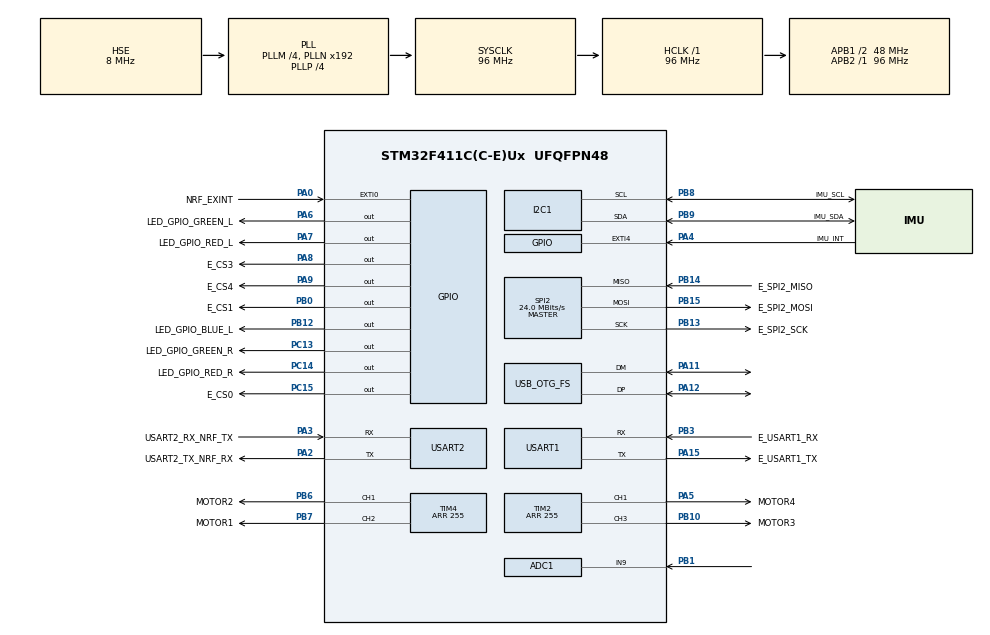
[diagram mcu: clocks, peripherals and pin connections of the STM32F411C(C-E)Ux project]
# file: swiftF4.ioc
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ADC1.Channel-2\#ChannelRegularConversion=ADC_CHANNEL_9
ADC1.NbrOfConversionFlag=1
ADC1.Rank-2\#ChannelRegularConversion=1
ADC1.SamplingTime-2\#ChannelRegularConversion=ADC_SAMPLETIME_3CYCLES
ADC1.master=1
Dma.ADC1.3.Direction=DMA_PERIPH_TO_MEMORY
Dma.ADC1.3.FIFOMode=DMA_FIFOMODE_DISABLE
Dma.ADC1.3.Instance=DMA2_Stream0
Dma.ADC1.3.MemDataAlignment=DMA_MDATAALIGN_HALFWORD
Dma.ADC1.3.MemInc=DMA_MINC_ENABLE
Dma.ADC1.3.Mode=DMA_NORMAL
Dma.ADC1.3.PeriphDataAlignment=DMA_PDATAALIGN_HALFWORD
Dma.ADC1.3.PeriphInc=DMA_PINC_DISABLE
Dma.ADC1.3.Priority=DMA_PRIORITY_VERY_HIGH
Dma.I2C1_RX.2.Direction=DMA_PERIPH_TO_MEMORY
Dma.I2C1_RX.2.FIFOMode=DMA_FIFOMODE_DISABLE
Dma.I2C1_RX.2.Instance=DMA1_Stream0
Dma.I2C1_RX.2.MemDataAlignment=DMA_MDATAALIGN_BYTE
Dma.I2C1_RX.2.MemInc=DMA_MINC_ENABLE
Dma.I2C1_RX.2.Mode=DMA_NORMAL
Dma.I2C1_RX.2.PeriphDataAlignment=DMA_PDATAALIGN_BYTE
Dma.I2C1_RX.2.PeriphInc=DMA_PINC_DISABLE
Dma.I2C1_RX.2.Priority=DMA_PRIORITY_HIGH
Dma.I2C1_TX.4.Direction=DMA_MEMORY_TO_PERIPH
Dma.I2C1_TX.4.FIFOMode=DMA_FIFOMODE_DISABLE
Dma.I2C1_TX.4.Instance=DMA1_Stream1
Dma.I2C1_TX.4.MemDataAlignment=DMA_MDATAALIGN_BYTE
Dma.I2C1_TX.4.MemInc=DMA_MINC_ENABLE
Dma.I2C1_TX.4.Mode=DMA_NORMAL
Dma.I2C1_TX.4.PeriphDataAlignment=DMA_PDATAALIGN_BYTE
Dma.I2C1_TX.4.PeriphInc=DMA_PINC_DISABLE
Dma.I2C1_TX.4.Priority=DMA_PRIORITY_HIGH
Dma.Request0=USART1_RX
Dma.Request1=USART1_TX
Dma.Request2=I2C1_RX
Dma.Request3=ADC1
Dma.Request4=I2C1_TX
Dma.Request5=USART2_RX
Dma.Request6=USART2_TX
Dma.USART1_RX.0.Direction=DMA_PERIPH_TO_MEMORY
Dma.USART1_RX.0.FIFOMode=DMA_FIFOMODE_DISABLE
Dma.USART1_RX.0.Instance=DMA2_Stream2
Dma.USART1_RX.0.MemDataAlignment=DMA_MDATAALIGN_BYTE
Dma.USART1_RX.0.MemInc=DMA_MINC_ENABLE
Dma.USART1_RX.0.Mode=DMA_NORMAL
Dma.USART1_RX.0.PeriphDataAlignment=DMA_PDATAALIGN_BYTE
Dma.USART1_RX.0.PeriphInc=DMA_PINC_DISABLE
Dma.USART1_RX.0.Priority=DMA_PRIORITY_HIGH
Dma.USART1_TX.1.Direction=DMA_MEMORY_TO_PERIPH
Dma.USART1_TX.1.FIFOMode=DMA_FIFOMODE_DISABLE
Dma.USART1_TX.1.Instance=DMA2_Stream7
Dma.USART1_TX.1.MemDataAlignment=DMA_MDATAALIGN_BYTE
Dma.USART1_TX.1.MemInc=DMA_MINC_ENABLE
Dma.USART1_TX.1.Mode=DMA_NORMAL
Dma.USART1_TX.1.PeriphDataAlignment=DMA_PDATAALIGN_BYTE
Dma.USART1_TX.1.PeriphInc=DMA_PINC_DISABLE
Dma.USART1_TX.1.Priority=DMA_PRIORITY_HIGH
Dma.USART2_RX.5.Direction=DMA_PERIPH_TO_MEMORY
Dma.USART2_RX.5.FIFOMode=DMA_FIFOMODE_DISABLE
Dma.USART2_RX.5.Instance=DMA1_Stream5
Dma.USART2_RX.5.MemDataAlignment=DMA_MDATAALIGN_BYTE
Dma.USART2_RX.5.MemInc=DMA_MINC_ENABLE
Dma.USART2_RX.5.Mode=DMA_NORMAL
Dma.USART2_RX.5.PeriphDataAlignment=DMA_PDATAALIGN_BYTE
Dma.USART2_RX.5.PeriphInc=DMA_PINC_DISABLE
Dma.USART2_RX.5.Priority=DMA_PRIORITY_HIGH
Dma.USART2_TX.6.Direction=DMA_MEMORY_TO_PERIPH
Dma.USART2_TX.6.FIFOMode=DMA_FIFOMODE_DISABLE
Dma.USART2_TX.6.Instance=DMA1_Stream6
Dma.USART2_TX.6.MemDataAlignment=DMA_MDATAALIGN_BYTE
Dma.USART2_TX.6.MemInc=DMA_MINC_ENABLE
Dma.USART2_TX.6.Mode=DMA_NORMAL
Dma.USART2_TX.6.PeriphDataAlignment=DMA_PDATAALIGN_BYTE
Dma.USART2_TX.6.PeriphInc=DMA_PINC_DISABLE
Dma.USART2_TX.6.Priority=DMA_PRIORITY_HIGH
FREERTOS.INCLUDE_pcTaskGetTaskName=1
FREERTOS.INCLUDE_uxTaskGetStackHighWaterMark=1
FREERTOS.INCLUDE_uxTaskGetStackHighWaterMark2=1
FREERTOS.INCLUDE_vTaskCleanUpResources=1
FREERTOS.INCLUDE_vTaskDelayUntil=1
FREERTOS.INCLUDE_xTaskGetHandle=1
FREERTOS.INCLUDE_xTimerPendFunctionCall=1
FREERTOS.Tasks01=defaultTask,0,128,StartDefaultTask,Default,NULL,Dynamic,NULL,NULL
FREERTOS.configCHECK_FOR_STACK_OVERFLOW=1
FREERTOS.configGENERATE_RUN_TIME_STATS=1
FREERTOS.configMAX_PRIORITIES=20
FREERTOS.configTIMER_QUEUE_LENGTH=20
FREERTOS.configTIMER_TASK_PRIORITY=1
FREERTOS.configTIMER_TASK_STACK_DEPTH=512
FREERTOS.configUSE_APPLICATION_TASK_TAG=1
FREERTOS.configUSE_IDLE_HOOK=1
FREERTOS.configUSE_NEWLIB_REENTRANT=1
FREERTOS.configUSE_POSIX_ERRNO=1
FREERTOS.configUSE_STATS_FORMATTING_FUNCTIONS=1
FREERTOS.configUSE_TIMERS=1
FREERTOS.configUSE_TRACE_FACILITY=1
I2C1.DualAddressMode=I2C_DUALADDRESS_DISABLE
I2C1.I2C_Mode=I2C_Fast
Mcu.Family=STM32F4
Mcu.Name=STM32F411C(C-E)Ux
Mcu.Package=UFQFPN48
NVIC.ADC_IRQn=true\:5\:0\:false\:false\:true\:true\:true\:true\:true
NVIC.DMA1_Stream0_IRQn=true\:5\:0\:false\:false\:true\:true\:false\:true\:true
NVIC.DMA1_Stream1_IRQn=true\:5\:0\:false\:false\:true\:true\:false\:true\:true
NVIC.DMA1_Stream5_IRQn=true\:5\:0\:false\:false\:true\:true\:false\:true\:true
NVIC.DMA1_Stream6_IRQn=true\:5\:0\:false\:false\:true\:true\:false\:true\:true
NVIC.DMA2_Stream0_IRQn=true\:5\:0\:false\:false\:true\:true\:false\:true\:true
NVIC.DMA2_Stream2_IRQn=true\:5\:0\:false\:false\:true\:true\:false\:true\:true
NVIC.DMA2_Stream7_IRQn=true\:5\:0\:false\:false\:true\:true\:false\:true\:true
NVIC.EXTI0_IRQn=true\:5\:0\:false\:false\:true\:true\:true\:true\:true
NVIC.EXTI4_IRQn=true\:5\:0\:false\:false\:true\:true\:true\:true\:true
NVIC.I2C1_ER_IRQn=true\:5\:0\:false\:false\:true\:true\:true\:true\:true
NVIC.I2C1_EV_IRQn=true\:5\:0\:false\:false\:true\:true\:true\:true\:true
NVIC.OTG_FS_IRQn=true\:5\:0\:false\:false\:true\:true\:false\:true\:true
NVIC.PriorityGroup=NVIC_PRIORITYGROUP_4
NVIC.TIM1_TRG_COM_TIM11_IRQn=true\:5\:0\:false\:false\:true\:true\:true\:true\:true
NVIC.USART1_IRQn=true\:5\:0\:false\:false\:true\:true\:true\:true\:true
NVIC.USART2_IRQn=true\:5\:0\:false\:false\:true\:true\:true\:true\:true
PA0-WKUP.GPIO_Label=NRF_EXINT
PA0-WKUP.GPIO_ModeDefaultEXTI=GPIO_MODE_IT_RISING_FALLING
PA0-WKUP.GPIO_PuPd=GPIO_PULLUP
PA0-WKUP.Signal=GPXTI0
PA10.GPIO_Mode=GPIO_MODE_AF_PP
PA10.GPIO_PuPd=GPIO_PULLUP
PA10.Signal=USB_OTG_FS_ID
PA11.Mode=Device_Only
PA11.Signal=USB_OTG_FS_DM
PA12.Mode=Device_Only
PA12.Signal=USB_OTG_FS_DP
PA13.Signal=SYS_JTMS-SWDIO
PA14.Signal=SYS_JTCK-SWCLK
PA15.GPIO_Label=E_USART1_TX
PA15.Mode=Asynchronous
PA15.Signal=USART1_TX
PA2.GPIO_Label=USART2_TX_NRF_RX
PA2.Mode=Asynchronous
PA2.Signal=USART2_TX
PA3.GPIO_Label=USART2_RX_NRF_TX
PA3.GPIO_PuPd=GPIO_PULLUP
PA3.Mode=Asynchronous
PA3.Signal=USART2_RX
PA4.GPIO_Label=IMU_INT
PA4.Signal=GPXTI4
PA5.GPIO_Label=MOTOR4
PA5.GPIO_PuPd=GPIO_PULLUP
PA5.GPIO_Speed=GPIO_SPEED_FREQ_VERY_HIGH
PA5.Signal=S_TIM2_CH1_ETR
PA6.GPIO_Label=LED_GPIO_GREEN_L
PA6.Signal=GPIO_Output
PA7.GPIO_Label=LED_GPIO_RED_L
PA7.Signal=GPIO_Output
PA8.GPIO_Label=E_CS3
PA8.Signal=GPIO_Output
PA9.GPIO_Label=E_CS4
PA9.Signal=GPIO_Output
PB0.GPIO_Label=E_CS1
PB0.Signal=GPIO_Output
PB1.Signal=ADCx_IN9
PB10.GPIO_Label=MOTOR3
PB10.GPIO_PuPd=GPIO_PULLUP
PB10.GPIO_Speed=GPIO_SPEED_FREQ_VERY_HIGH
PB10.Signal=S_TIM2_CH3
PB12.GPIO_Label=LED_GPIO_BLUE_L
PB12.Signal=GPIO_Output
PB13.GPIO_Label=E_SPI2_SCK
PB13.Mode=Full_Duplex_Master
PB13.Signal=SPI2_SCK
PB14.GPIO_Label=E_SPI2_MISO
PB14.Mode=Full_Duplex_Master
PB14.Signal=SPI2_MISO
PB15.GPIO_Label=E_SPI2_MOSI
PB15.Mode=Full_Duplex_Master
PB15.Signal=SPI2_MOSI
PB3.GPIO_Label=E_USART1_RX
PB3.GPIO_PuPd=GPIO_PULLUP
PB3.Mode=Asynchronous
PB3.Signal=USART1_RX
PB4.GPIO_Label=E_SDA
PB4.Signal=I2C3_SDA
PB6.GPIO_Label=MOTOR2
PB6.GPIO_PuPd=GPIO_PULLUP
PB6.GPIO_Speed=GPIO_SPEED_FREQ_VERY_HIGH
PB6.Signal=S_TIM4_CH1
PB7.GPIO_Label=MOTOR1
PB7.GPIO_PuPd=GPIO_PULLUP
PB7.GPIO_Speed=GPIO_SPEED_FREQ_VERY_HIGH
PB7.Signal=S_TIM4_CH2
PB8.GPIO_Label=IMU_SCL
PB8.GPIO_Pu=GPIO_PULLUP
PB8.Mode=I2C
PB8.Signal=I2C1_SCL
PB9.GPIO_Label=IMU_SDA
PB9.GPIO_Pu=GPIO_PULLUP
PB9.Mode=I2C
PB9.Signal=I2C1_SDA
PC13-ANTI_TAMP.GPIO_Label=LED_GPIO_GREEN_R
PC13-ANTI_TAMP.Signal=GPIO_Output
PC14-OSC32_IN.GPIO_Label=LED_GPIO_RED_R
PC14-OSC32_IN.Signal=GPIO_Output
PC15-OSC32_OUT.GPIO_Label=E_CS0
PC15-OSC32_OUT.Signal=GPIO_Output
PH0\ -\ OSC_IN.Mode=HSE-External-Oscillator
PH0\ -\ OSC_IN.Signal=RCC_OSC_IN
PH1\ -\ OSC_OUT.Mode=HSE-External-Oscillator
PH1\ -\ OSC_OUT.Signal=RCC_OSC_OUT
ProjectManager.HeapSize=0x200
ProjectManager.StackSize=0x400
ProjectManager.TargetToolchain=STM32CubeIDE
RCC.48MHZClocksFreq_Value=48000000
RCC.AHBFreq_Value=96000000
RCC.APB1CLKDivider=RCC_HCLK_DIV2
RCC.APB1Freq_Value=48000000
RCC.APB1TimFreq_Value=96000000
RCC.APB2Freq_Value=96000000
RCC.APB2TimFreq_Value=96000000
RCC.CortexFreq_Value=96000000
RCC.HCLKFreq_Value=96000000
RCC.HSE_VALUE=8000000
RCC.HSI_VALUE=16000000
RCC.LSE_VALUE=32768
RCC.PLLM=4
RCC.PLLP=RCC_PLLP_DIV4
RCC.PLLQ=8
RCC.SYSCLKFreq_VALUE=96000000
RCC.SYSCLKSource=RCC_SYSCLKSOURCE_PLLCLK
RCC.VCOOutputFreq_Value=384000000
SH.ADCx_IN9.0=ADC1_IN9,IN9
SH.S_TIM2_CH1_ETR.0=TIM2_CH1,PWM Generation1 CH1
SH.S_TIM2_CH3.0=TIM2_CH3,PWM Generation3 CH3
SH.S_TIM4_CH1.0=TIM4_CH1,PWM Generation1 CH1
SH.S_TIM4_CH2.0=TIM4_CH2,PWM Generation2 CH2
SPI2.CalculateBaudRate=24.0 MBits/s
SPI2.Direction=SPI_DIRECTION_2LINES
SPI2.Mode=SPI_MODE_MASTER
SPI2.VirtualType=VM_MASTER
STMicroelectronics.X-CUBE-ALGOBUILD.1.3.0.LibraryCcDSPOoLibraryJjDSPOoLibrary=true
TIM11.AutoReloadPreload=TIM_AUTORELOAD_PRELOAD_DISABLE
TIM11.Channel=TIM_CHANNEL_1
TIM11.Prescaler=95
TIM2.Channel-PWM\ Generation1\ CH1=TIM_CHANNEL_1
TIM2.Channel-PWM\ Generation3\ CH3=TIM_CHANNEL_3
TIM2.OCFastMode_PWM-PWM\ Generation1\ CH1=TIM_OCFAST_ENABLE
TIM2.OCFastMode_PWM-PWM\ Generation3\ CH3=TIM_OCFAST_ENABLE
TIM2.Period=255
TIM4.Channel-PWM\ Generation1\ CH1=TIM_CHANNEL_1
TIM4.Channel-PWM\ Generation2\ CH2=TIM_CHANNEL_2
TIM4.OCFastMode_PWM-PWM\ Generation1\ CH1=TIM_OCFAST_ENABLE
TIM4.OCFastMode_PWM-PWM\ Generation2\ CH2=TIM_OCFAST_ENABLE
TIM4.Period=255
USART1.VirtualMode=VM_ASYNC
USART2.VirtualMode=VM_ASYNC
USB_DEVICE.CLASS_NAME_FS=CDC
USB_DEVICE.CONFIGURATION_STRING_CDC_FS=VCP Config
USB_DEVICE.INTERFACE_STRING_CDC_FS=Raw CRTP interface
USB_DEVICE.MANUFACTURER_STRING=Bitcraze AB
USB_DEVICE.PRODUCT_STRING_CDC_FS=Crazyflie 2.1
USB_DEVICE.USBD_DEBUG_LEVEL=3
USB_DEVICE.USBD_MAX_NUM_INTERFACES=3
USB_DEVICE.VirtualMode=Cdc
USB_DEVICE.VirtualModeFS=Cdc_FS
USB_OTG_FS.VirtualMode=Device_Only
VP_FREERTOS_VS_CMSIS_V1.Mode=CMSIS_V1
VP_STMicroelectronics.X-CUBE-ALGOBUILD_VS_DSPOoLibraryJjLibrary_1.3.0_1.3.0.Mode=DSPOoLibraryJjLibrary
VP_TIM11_VS_ClockSourceINT.Mode=Enable_Timer
VP_TIM11_VS_no_output1.Mode=PWM Generation1 No Output
VP_TIM2_VS_ClockSourceINT.Mode=Internal
VP_TIM4_VS_ClockSourceINT.Mode=Internal
VP_USB_DEVICE_VS_USB_DEVICE_CDC_FS.Mode=CDC_FS
board=custom

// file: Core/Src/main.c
/* USER CODE BEGIN Header */
/**
  ******************************************************************************
  * @file           : main.c
  * @brief          : Main program body
  ******************************************************************************
  * @attention
  *
  * Copyright (c) 2024 STMicroelectronics.
  * All rights reserved.
  *
  * This software is licensed under terms that can be found in the LICENSE file
  * in the root directory of this software component.
  * If no LICENSE file comes with this software, it is provided AS-IS.
  *
  ******************************************************************************
  */
/* USER CODE END Header */
#include "main.h"
#include "cmsis_os.h"
#include "adc.h"
#include "dma.h"
#include "i2c.h"
#include "spi.h"
#include "tim.h"
#include "usart.h"
#include "usb_device.h"
#include "gpio.h"

/* USER CODE BEGIN Includes */

#include "config.h"
#include "debug.h"

#include "mpu6500.h"
#include <stdbool.h>
/* USER CODE END Includes */

/* USER CODE BEGIN PV */

ADC_HandleTypeDef hadc2;

unsigned long  t1=0;
unsigned long  t2=0;

uint8_t rxd[1];
/* USER CODE END PV */

void SystemClock_Config(void);
void MX_FREERTOS_Init(void);

int main(void)
{

  /* MCU Configuration--------------------------------------------------------*/

  /* Reset of all peripherals, Initializes the Flash interface and the Systick. */
  HAL_Init();

  /* Configure the system clock */
  SystemClock_Config();

  /* Initialize all configured peripherals */
  MX_GPIO_Init();
  MX_DMA_Init();
  MX_TIM11_Init();
  MX_USART1_UART_Init();
  MX_USART2_UART_Init();
  MX_SPI2_Init();
  MX_I2C1_Init();
  MX_ADC1_Init();
  MX_TIM2_Init();
  MX_TIM4_Init();
  /* USER CODE BEGIN 2 */

  freertos_IntroTitle();

  check_enter_bootloader();

  int err = platformInit();
  if (err != 0) {
  	    // The firmware is running on the wrong hardware. Halt
  	    while(1);
  }

  HAL_TIM_Base_Start_IT(&htim11);

  // motor test
/*
  HAL_TIM_PWM_Start(&htim2, TIM_CHANNEL_1);
  HAL_TIM_PWM_Start(&htim2, TIM_CHANNEL_3);
  HAL_TIM_PWM_Start(&htim4, TIM_CHANNEL_1);
  HAL_TIM_PWM_Start(&htim4, TIM_CHANNEL_2);

  TIM2->CCR1 = 16;
  TIM2->CCR3 = 32;
  TIM4->CCR1 = 64;
  TIM4->CCR2 = 128;

  HAL_TIM_PWM_Stop(&htim2, TIM_CHANNEL_1);
  HAL_TIM_PWM_Stop(&htim2, TIM_CHANNEL_3);
  HAL_TIM_PWM_Stop(&htim4, TIM_CHANNEL_1);
  HAL_TIM_PWM_Stop(&htim4, TIM_CHANNEL_2);
*/

/*
  i2cdevInit(I2C1_DEV);
  mpu6500Init(I2C1_DEV);

  if (mpu6500TestConnection() == true)
  {
    DEBUG_PRINT("MPU9250 I2C connection [OK].\n");
  }
  else
  {
    DEBUG_PRINT("MPU9250 I2C connection [FAIL].\n");
  }
*/

  systemLaunch();

  /* USER CODE END 2 */

  /* Call init function for freertos objects (in freertos.c) */
  MX_FREERTOS_Init();

  /* Start scheduler */
  osKernelStart();

  /* We should never get here as control is now taken by the scheduler */
  /* Infinite loop */
  while (1)
  {

  }
}

void SystemClock_Config(void)
{
  RCC_OscInitTypeDef RCC_OscInitStruct = {0};
  RCC_ClkInitTypeDef RCC_ClkInitStruct = {0};

  /** Configure the main internal regulator output voltage
  */
  __HAL_RCC_PWR_CLK_ENABLE();
  __HAL_PWR_VOLTAGESCALING_CONFIG(PWR_REGULATOR_VOLTAGE_SCALE1);

  /** Initializes the RCC Oscillators according to the specified parameters
  * in the RCC_OscInitTypeDef structure.
  */
  RCC_OscInitStruct.OscillatorType = RCC_OSCILLATORTYPE_HSE;
  RCC_OscInitStruct.HSEState = RCC_HSE_ON;
  RCC_OscInitStruct.PLL.PLLState = RCC_PLL_ON;
  RCC_OscInitStruct.PLL.PLLSource = RCC_PLLSOURCE_HSE;
  RCC_OscInitStruct.PLL.PLLM = 4;
  RCC_OscInitStruct.PLL.PLLN = 192;
  RCC_OscInitStruct.PLL.PLLP = RCC_PLLP_DIV4;
  RCC_OscInitStruct.PLL.PLLQ = 8;
  if (HAL_RCC_OscConfig(&RCC_OscInitStruct) != HAL_OK)
  {
    Error_Handler();
  }

  /** Initializes the CPU, AHB and APB buses clocks
  */
  RCC_ClkInitStruct.ClockType = RCC_CLOCKTYPE_HCLK|RCC_CLOCKTYPE_SYSCLK
                              |RCC_CLOCKTYPE_PCLK1|RCC_CLOCKTYPE_PCLK2;
  RCC_ClkInitStruct.SYSCLKSource = RCC_SYSCLKSOURCE_PLLCLK;
  RCC_ClkInitStruct.AHBCLKDivider = RCC_SYSCLK_DIV1;
  RCC_ClkInitStruct.APB1CLKDivider = RCC_HCLK_DIV2;
  RCC_ClkInitStruct.APB2CLKDivider = RCC_HCLK_DIV1;

  if (HAL_RCC_ClockConfig(&RCC_ClkInitStruct, FLASH_LATENCY_3) != HAL_OK)
  {
    Error_Handler();
  }
}

/* USER CODE BEGIN 4 */

void InitTSysTick(uint32_t HCLKFrequency, uint32_t Ticks)
{
  /* Configure the SysTick to have interrupt in 1ms time base */
  SysTick->LOAD  = (uint32_t)((HCLKFrequency / Ticks) - 1UL);  /* set reload register */
  SysTick->VAL   = 0UL;                                       /* Load the SysTick Counter Value */
  SysTick->CTRL  = SysTick_CTRL_CLKSOURCE_Msk | SysTick_CTRL_ENABLE_Msk;                   /* Enable the Systick Timer */

  CoreDebug->DEMCR |= CoreDebug_DEMCR_TRCENA_Msk; 				// 시간 측정 초기화
  DWT->CYCCNT = 0;   DWT->CTRL |= DWT_CTRL_CYCCNTENA_Msk;
}

char* OSVersion(void)
{
	return tskKERNEL_VERSION_NUMBER;
}

void freertos_IntroTitle(void)
{
  DEBUG_PRINT("]]]]]]]]]]]]]]]]]]]]]]]]]]]]]]]]]]]]]]]]]]]]]]]]]]]]]]]]]]]]] \n");
  DEBUG_PRINT("]]]]]]]]]]]]]]]]]]]]]]]]]]]]]]]]]]]]]]]]]]]]]]]]]]]]]]]]]]]]                     \n");
  DEBUG_PRINT("]]]]]]]]]]]]]]]]]]]]]]]]]]]]]]]]]]]]]]]]]]]]]]]]]]]]]]]]]]]                      \n");
  DEBUG_PRINT("]        ]]]]]]]]]]]]]]]]]]]]]]]]]]]]]]]]      :]]]        ]   .]]]].    :]]]]:  \n");
  DEBUG_PRINT("]        ]]]]]]]]]]]]]]]]]]]]]]]]]]]]]]]]       ]]]       ]]   ]]]]]]   :]]]]]]  \n");
  DEBUG_PRINT("]  ]]]]]]]]]]]]]]]]]]]]]]]]]]]]]]]]]]]]]]  ]]]:  ]]]]]        :]]  ]]:  ]]:  :]  \n");
  DEBUG_PRINT("]  ]]]]]]]]]  .    ]]].    :]]]].    :]]]  ]]]]  ]]]]]  ]     ]]:  :]]  ]]       \n");
  DEBUG_PRINT("]  ]]]]]]]]]       ]].      :]].      :]]  ]]]:  ]]]]] ]]     ]]    ]]  ]]]:     \n");
  DEBUG_PRINT("]       ]]]]   .]]]]]  :]]:  ]]  :]]:  ]]       :]]]]  ]]     ]]    ]]  :]]]]]:  \n");
  DEBUG_PRINT("]       ]]]]  ]]]]]]]        ]]        ]]      ]]]]]   ]]     ]]    ]]   .]]]]]: \n");
  DEBUG_PRINT("]  ]]]]]]]]]  ]]]]]]]        ]]        ]]  ]]]  .]]    ]]     ]]    ]]      :]]] \n");
  DEBUG_PRINT("]  ]]]]]]]]]  ]]]]]]]  ]]]]]]]]  ]]]]]]]]  ]]]  ]]     ]]     ]]:  :]]        ]] \n");
  DEBUG_PRINT("]  ]]]]]]]]]  ]]]]]]]   .]]: ]]   .]]: ]]  ]]]:        ]]     :]]  ]]:  ]:.  :]] \n");
  DEBUG_PRINT("]  ]]]]]]]]]  ]]]]]]].       ]].       ]]  ]]]]  ]:    ]]      ]]]]]]   ]]]]]]]: \n");
  DEBUG_PRINT("]  ]]]]]]]]]  ]]]]]]]].     :]]].     :]]  ]]]] ]]]    ]]      .]]]].   .]]]]]:  \n");
  DEBUG_PRINT("]]]]]]]]]]]]]]]]]]]]]]]]]]]]]]]]]]]]]]]]]]]]]]                                   \n");
  DEBUG_PRINT("]]]]]]]]]]]]]]]]]]]]]]]]]]]]]]]]]]]]]]]]]]]]]                                    \n");
  DEBUG_PRINT("]]]]]]]]]]]]]]]]]]]]]]]]]]]]]]]]]]]]]]]]]]]]   The Real Time Kernel \n");
  DEBUG_PRINT("]]]]]]]]]]]]]]]]]]]]]]]]]]]]]]]]]]]]]]]]]]]\n");
  DEBUG_PRINT("]]]]]]]]]]]]]]]]]]]]]]]]]]]]]]]]]]]]]]]]]]     FreeRTOS version %s\n", OSVersion());
  DEBUG_PRINT("]]]]]]]]]]]]]]]]]]]]]]]]]]]]]]]]]]]]]]]]]\n");
  DEBUG_PRINT("]]]]]]]]]]]]]]]]]]]]]]]]]]]]]]]]]]]]]]]]\n\n");
}

/* USER CODE END 4 */

void Error_Handler(void)
{
  __disable_irq();
  while (1)
  {
  }
}

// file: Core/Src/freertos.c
/* USER CODE BEGIN Header */
/**
  ******************************************************************************
  * File Name          : freertos.c
  * Description        : Code for freertos applications
  ******************************************************************************
  * @attention
  *
  * Copyright (c) 2024 STMicroelectronics.
  * All rights reserved.
  *
  * This software is licensed under terms that can be found in the LICENSE file
  * in the root directory of this software component.
  * If no LICENSE file comes with this software, it is provided AS-IS.
  *
  ******************************************************************************
  */
/* USER CODE END Header */

#include "FreeRTOS.h"
#include "task.h"
#include "main.h"
#include "cmsis_os.h"

/* USER CODE BEGIN Includes */
#include "debug.h"
/* USER CODE END Includes */

osThreadId defaultTaskHandle;

void StartDefaultTask(void const * argument);

extern void MX_USB_DEVICE_Init(void);
void MX_FREERTOS_Init(void); /* (MISRA C 2004 rule 8.1) */

/* GetIdleTaskMemory prototype (linked to static allocation support) */
void vApplicationGetIdleTaskMemory( StaticTask_t **ppxIdleTaskTCBBuffer, StackType_t **ppxIdleTaskStackBuffer, uint32_t *pulIdleTaskStackSize );

/* GetTimerTaskMemory prototype (linked to static allocation support) */
void vApplicationGetTimerTaskMemory( StaticTask_t **ppxTimerTaskTCBBuffer, StackType_t **ppxTimerTaskStackBuffer, uint32_t *pulTimerTaskStackSize );

/* Hook prototypes */
void configureTimerForRunTimeStats(void);
unsigned long getRunTimeCounterValue(void);
void vApplicationIdleHook(void);
void vApplicationStackOverflowHook(xTaskHandle xTask, signed char *pcTaskName);

/* USER CODE BEGIN 1 */
/* Functions needed when configGENERATE_RUN_TIME_STATS is on */
__weak void configureTimerForRunTimeStats(void)
{

}

__weak unsigned long getRunTimeCounterValue(void)
{
return 0;
}
/* USER CODE END 1 */

/* USER CODE BEGIN 2 */
__weak void vApplicationIdleHook( void )
{
   /* vApplicationIdleHook() will only be called if configUSE_IDLE_HOOK is set
   to 1 in FreeRTOSConfig.h. It will be called on each iteration of the idle
   task. It is essential that code added to this hook function never attempts
   to block in any way (for example, call xQueueReceive() with a block time
   specified, or call vTaskDelay()). If the application makes use of the
   vTaskDelete() API function (as this demo application does) then it is also
   important that vApplicationIdleHook() is permitted to return to its calling
   function, because it is the responsibility of the idle task to clean up
   memory allocated by the kernel to any task that has since been deleted. */
}
/* USER CODE END 2 */

/* USER CODE BEGIN 4 */
__weak void vApplicationStackOverflowHook(xTaskHandle xTask, signed char *pcTaskName)
{
   /* Run time stack overflow checking is performed if
   configCHECK_FOR_STACK_OVERFLOW is defined to 1 or 2. This hook function is
   called if a stack overflow is detected. */
}
/* USER CODE END 4 */

/* USER CODE BEGIN GET_IDLE_TASK_MEMORY */
static StaticTask_t xIdleTaskTCBBuffer;
static StackType_t xIdleStack[configMINIMAL_STACK_SIZE];

void vApplicationGetIdleTaskMemory( StaticTask_t **ppxIdleTaskTCBBuffer, StackType_t **ppxIdleTaskStackBuffer, uint32_t *pulIdleTaskStackSize )
{
  *ppxIdleTaskTCBBuffer = &xIdleTaskTCBBuffer;
  *ppxIdleTaskStackBuffer = &xIdleStack[0];
  *pulIdleTaskStackSize = configMINIMAL_STACK_SIZE;
  /* place for user code */
}
/* USER CODE END GET_IDLE_TASK_MEMORY */

/* USER CODE BEGIN GET_TIMER_TASK_MEMORY */
static StaticTask_t xTimerTaskTCBBuffer;
static StackType_t xTimerStack[configTIMER_TASK_STACK_DEPTH];

void vApplicationGetTimerTaskMemory( StaticTask_t **ppxTimerTaskTCBBuffer, StackType_t **ppxTimerTaskStackBuffer, uint32_t *pulTimerTaskStackSize )
{
  *ppxTimerTaskTCBBuffer = &xTimerTaskTCBBuffer;
  *ppxTimerTaskStackBuffer = &xTimerStack[0];
  *pulTimerTaskStackSize = configTIMER_TASK_STACK_DEPTH;
  /* place for user code */
}
/* USER CODE END GET_TIMER_TASK_MEMORY */

void MX_FREERTOS_Init(void) {

  /* Create the thread(s) */
  /* definition and creation of defaultTask */
  osThreadDef(defaultTask, StartDefaultTask, osPriorityNormal, 0, 128);
  defaultTaskHandle = osThreadCreate(osThread(defaultTask), NULL);

}

void StartDefaultTask(void const * argument)
{
  /* init code for USB_DEVICE */
//  MX_USB_DEVICE_Init();
  /* USER CODE BEGIN StartDefaultTask */
  DEBUG_PRINT("[TASK] StartDefaultTask is running!\n");

  /* Infinite loop */
  for(;;)
  {
    osDelay(1);
  }
  /* USER CODE END StartDefaultTask */
}
